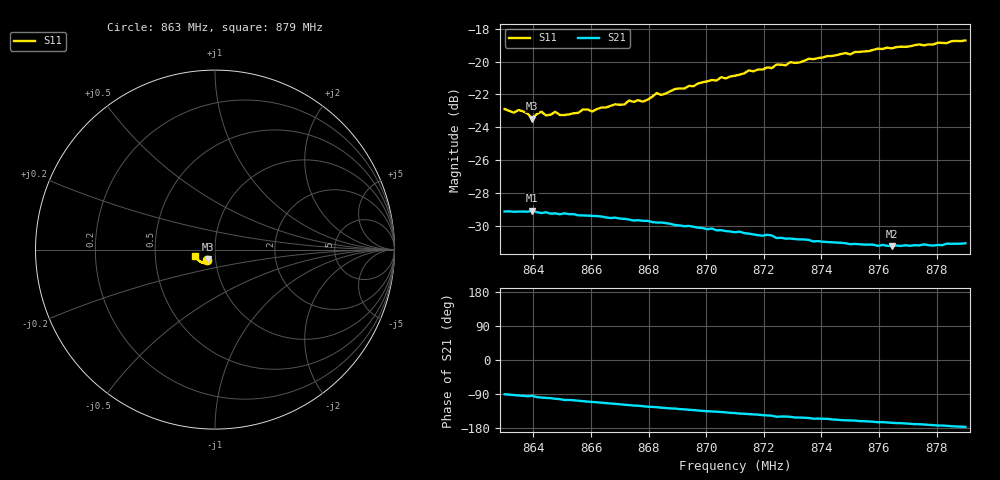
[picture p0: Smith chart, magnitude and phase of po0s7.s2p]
# HZ S RI R 50
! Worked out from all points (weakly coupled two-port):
!   101 points, 863 MHz to 879 MHz, reference 50 ohm
!   highest |S21| = -29.06 dB at 863.96 MHz (marker M1); lowest = -31.2 dB at 876.44 MHz (marker M2)
!   lowest |S11| = -23.5 dB at 863.96 MHz (marker M3), VSWR 1.14, Z = 46 - j5.1 ohm
!   |S11| at or under -10 dB: start of sweep to end of sweep
!   S12 and S22 are empty: the file has one direction only
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8.63e8  -0.042 -0.0581  -0.000203 -0.035  0 0  0 0
8.6332e8  -0.0401 -0.0573  -0.00151 -0.0349  0 0  0 0
8.6364e8  -0.0389 -0.059  -0.00281 -0.0349  0 0  0 0
8.6396e8  -0.0383 -0.0551  -0.00281 -0.0351  0 0  0 0
8.6428e8  -0.0373 -0.0597  -0.00551 -0.0342  0 0  0 0
8.6444e8  -0.037 -0.0577  -0.00606 -0.0343  0 0  0 0
8.6476e8  -0.0373 -0.0596  -0.00739 -0.0337  0 0  0 0
8.6508e8  -0.035 -0.0592  -0.00928 -0.0333  0 0  0 0
8.6572e8  -0.0354 -0.0621  -0.0108 -0.0323  0 0  0 0
8.6604e8  -0.0345 -0.0615  -0.012 -0.0317  0 0  0 0
8.6684e8  -0.036 -0.0649  -0.0145 -0.0302  0 0  0 0
8.6716e8  -0.0354 -0.065  -0.0156 -0.0293  0 0  0 0
8.6732e8  -0.0377 -0.0662  -0.016 -0.0289  0 0  0 0
8.678e8  -0.0371 -0.0658  -0.0173 -0.0278  0 0  0 0
8.6828e8  -0.039 -0.0701  -0.0183 -0.0267  0 0  0 0
8.6844e8  -0.0385 -0.0691  -0.019 -0.0262  0 0  0 0
8.6892e8  -0.0415 -0.0714  -0.0197 -0.025  0 0  0 0
8.71e8  -0.052 -0.0742  -0.0231 -0.0195  0 0  0 0
8.7148e8  -0.0558 -0.0757  -0.0239 -0.0181  0 0  0 0
8.7372e8  -0.0717 -0.0722  -0.0257 -0.012  0 0  0 0
8.7644e8  -0.0937 -0.0571  -0.0266 -0.00675  0 0  0 0
8.79e8  -0.1099 -0.037  -0.028 -0.00173  0 0  0 0
